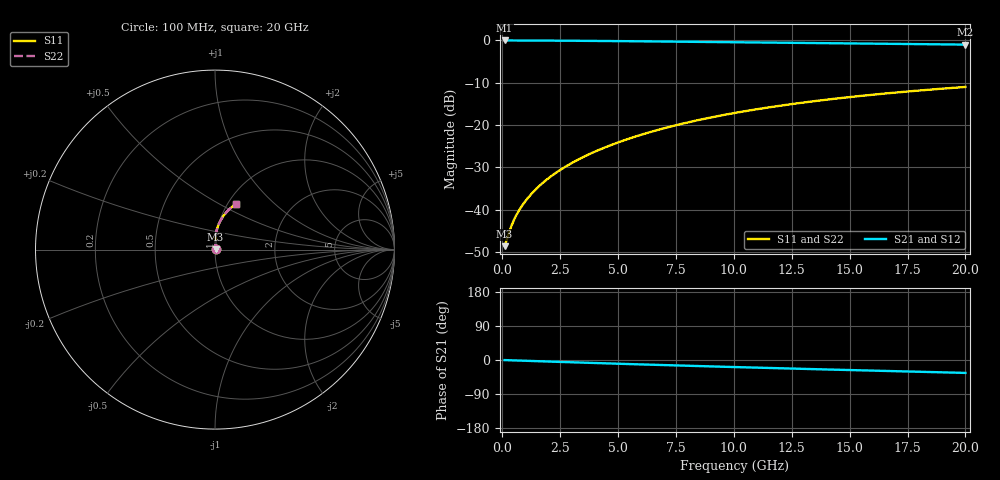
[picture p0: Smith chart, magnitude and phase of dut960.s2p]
! Touchstone file exported from HFSS 2024.1.0
!  File:  C:/UserFiles/LocalFiles/RDL_TSV_Batchsim/temp_RDL_top_960_1779938404.aedt
!  Generated:  11:22:16 AM May 28, 2026
!  Design:  RDL_top
!  Project:  temp_RDL_top_960_1779938404
!  Setup:  Setup1
!  Solution:  Sweep
! Variables:
!  dtsv = 10.80580581um
!  hbump = 3um
!  htsv = 52.54um
!  ldown = 100um
!  lrdl = 510.36um
!  p = 40
!  p1 = 43.27um
!  rhole = 1um
!  t = 450um
!  tdown = 3.915915916um
!  trdl = 2.36um
!  wdown = 15.38538539um
!  wrdl = 24.71um
# GHz S MA R 50.000000
! Terminal data exported
! Port[1] = Box2_T1
! Port[2] = Box2_T2
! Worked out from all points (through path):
!   200 points, 100 MHz to 20 GHz, reference 50 ohm
!   highest |S21| = -0.03 dB at 100 MHz (marker M1); lowest = -1.0 dB at 20 GHz (marker M2)
!   group delay of S21, straight-line fit = 4.68 ps
!   lowest |S11| = -48.6 dB at 100 MHz (marker M3), VSWR 1.01, Z = 50.3 + j0.139 ohm
!   |S11| at or under -10 dB: start of sweep to end of sweep
!   |S22| runs from -48.6 to -11.0 dB; largest |S21 - S12| = 2.6e-15
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0.1  0.003694 22.0  0.9966 -0.2  0.9966 -0.2  0.003694 22.0
! Gamma 0 0 0 0
! Port Impedance 50 0 50 0
0.3  0.005442 47.1  0.9962 -0.6  0.9962 -0.6  0.005442 47.1
0.4  0.006469 53.3  0.996 -0.9  0.996 -0.9  0.006469 53.3
0.6  0.008523 61.1  0.9955 -1.3  0.9955 -1.3  0.008523 61.1
0.7  0.009542 63.8  0.9953 -1.5  0.9953 -1.5  0.009542 63.8
0.9  0.01159 68.2  0.9949 -1.9  0.9949 -1.9  0.01159 68.2
1.2  0.01471 72.9  0.9943 -2.5  0.9943 -2.5  0.01471 72.9
1.4  0.01685 75.3  0.9938 -2.9  0.9938 -2.9  0.01685 75.3
1.7  0.02014 78.1  0.9931 -3.5  0.9931 -3.5  0.02014 78.1
2.2  0.02584 81.4  0.9917 -4.5  0.9917 -4.5  0.02584 81.3
2.8  0.03301 83.9  0.9896 -5.7  0.9896 -5.7  0.033 83.9
3.5  0.04181 85.7  0.9867 -7.0  0.9867 -7.0  0.04181 85.7
4.2  0.05107 86.7  0.9834 -8.4  0.9834 -8.4  0.05106 86.7
5  0.06215 87.1  0.9793 -9.9  0.9793 -9.9  0.06213 87.1
5.9  0.07514 87.0  0.9743 -11.5  0.9743 -11.5  0.07512 87.0
6.8  0.08858 86.4  0.9691 -13.1  0.9691 -13.1  0.08855 86.4
8.4  0.1131 84.6  0.9595 -15.9  0.9595 -15.9  0.1131 84.5
10.1  0.1396 82.0  0.9491 -18.7  0.9491 -18.7  0.1395 82.0
11.7  0.1643 79.3  0.9395 -21.3  0.9395 -21.3  0.1642 79.3
13.4  0.19 76.4  0.9293 -24.1  0.9293 -24.1  0.1899 76.3
16.7  0.2375 70.6  0.9097 -29.1  0.9097 -29.1  0.2374 70.5
20  0.2813 65.0  0.8903 -34.1  0.8903 -34.1  0.2812 65.0
